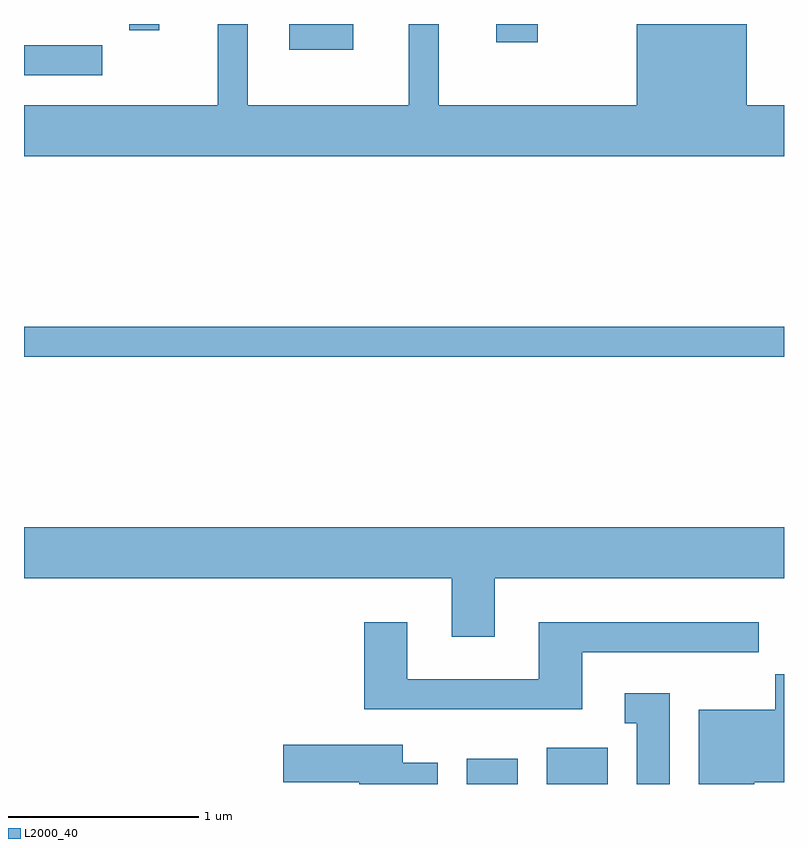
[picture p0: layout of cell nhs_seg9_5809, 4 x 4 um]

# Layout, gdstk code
import gdstk
lib = gdstk.Library(unit=1e-6, precision=1e-09)
def R(c, l, rs):  # rectangles x0, y0, x1, y1
    for r in rs: c.add(gdstk.rectangle(r[:2], r[2:], *l))
def P(c, l, *ps):  # polygons
    for p in ps: c.add(gdstk.Polygon(p, *l))
L2000_40 = (2000, 40)

nhs_seg9_5809 = lib.new_cell('nhs_seg9_5809')
R(nhs_seg9_5809, L2000_40, [(357.941,2068.432,358.209,2068.564), (358.361,2068.432,358.684,2068.624), (355.611,2070.681,359.611,2070.839), (355.611,2072.161,356.023,2072.319), (357.006,2072.296,357.344,2072.432), (358.096,2072.336,358.314,2072.432), (356.166,2072.398,356.324,2072.432)])
P(nhs_seg9_5809, L2000_40, [(359.611,2072.004),(359.414,2072.004),(359.414,2072.432),(358.836,2072.432),(358.836,2072.004),(357.794,2072.004),(357.794,2072.432),(357.636,2072.432),(357.636,2072.004),(356.789,2072.004),(356.789,2072.432),(356.631,2072.432),(356.631,2072.004),(355.611,2072.004),(355.611,2071.736),(359.611,2071.736)],
  [(358.089,2069.516),(359.611,2069.516),(359.611,2069.784),(355.611,2069.784),(355.611,2069.516),(357.861,2069.516),(357.861,2069.206),(358.089,2069.206)],
  [(358.549,2069.126),(359.478,2069.126),(359.478,2069.284),(358.321,2069.284),(358.321,2068.984),(357.629,2068.984),(357.629,2069.284),(357.401,2069.284),(357.401,2068.826),(358.549,2068.826)],
  [(359.454,2068.441),(359.611,2068.441),(359.611,2069.009),(359.566,2069.009),(359.566,2068.824),(359.161,2068.824),(359.161,2068.432),(359.454,2068.432)],
  [(359.009,2068.909),(358.773,2068.909),(358.773,2068.751),(358.836,2068.751),(358.836,2068.432),(359.009,2068.432)],
  [(357.789,2068.544),(357.604,2068.544),(357.604,2068.639),(356.976,2068.639),(356.976,2068.441),(357.376,2068.441),(357.376,2068.432),(357.789,2068.432)])

lib.write_gds('nhs_seg9_5809.gds')
